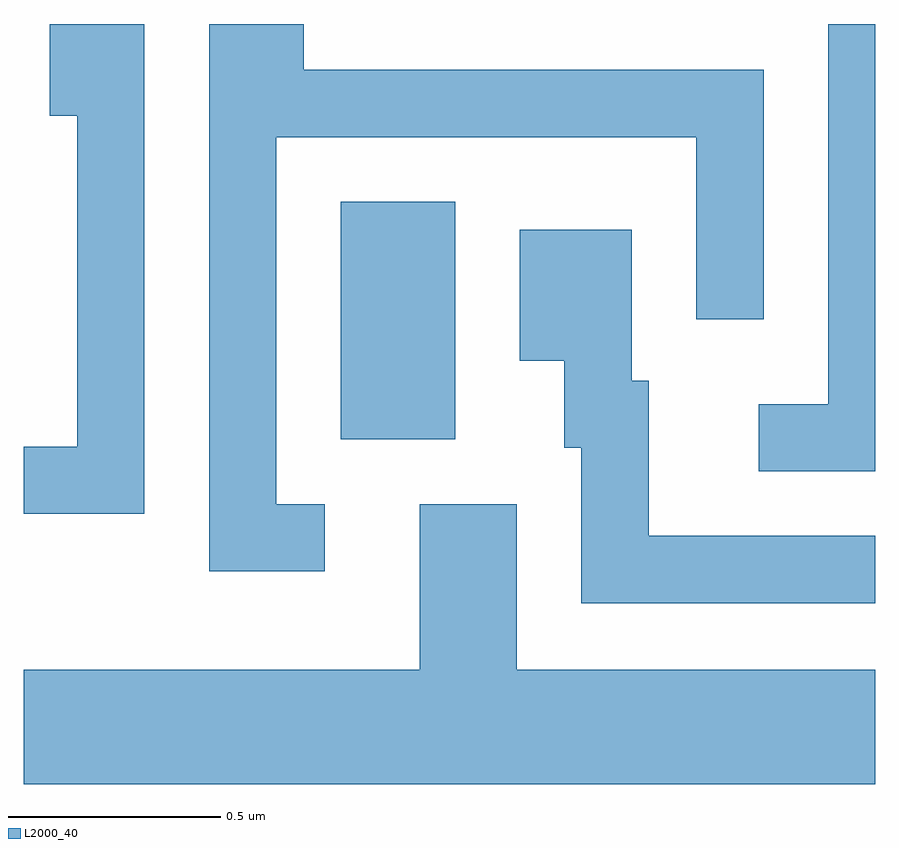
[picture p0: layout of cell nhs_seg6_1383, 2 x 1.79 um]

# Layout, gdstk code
import gdstk
lib = gdstk.Library(unit=1e-6, precision=1e-09)
def R(c, l, rs):  # rectangles x0, y0, x1, y1
    for r in rs: c.add(gdstk.rectangle(r[:2], r[2:], *l))
def P(c, l, *ps):  # polygons
    for p in ps: c.add(gdstk.Polygon(p, *l))
L2000_40 = (2000, 40)

nhs_seg6_1383 = lib.new_cell('nhs_seg6_1383')
R(nhs_seg6_1383, L2000_40, [(196.356,1544.186,196.624,1544.744)])
P(nhs_seg6_1383, L2000_40, [(196.318,1544.034),(196.204,1544.034),(196.204,1544.896),(197.191,1544.896),(197.191,1544.468),(197.349,1544.468),(197.349,1545.054),(196.269,1545.054),(196.269,1545.162),(196.046,1545.162),(196.046,1543.876),(196.318,1543.876)],
  [(195.894,1545.162),(195.671,1545.162),(195.671,1544.946),(195.736,1544.946),(195.736,1544.169),(195.611,1544.169),(195.611,1544.011),(195.894,1544.011)],
  [(197.611,1545.162),(197.501,1545.162),(197.501,1544.269),(197.338,1544.269),(197.338,1544.111),(197.611,1544.111)],
  [(197.611,1543.959),(197.079,1543.959),(197.079,1544.324),(197.039,1544.324),(197.039,1544.679),(196.776,1544.679),(196.776,1544.371),(196.881,1544.371),(196.881,1544.166),(196.921,1544.166),(196.921,1543.801),(197.611,1543.801)],
  [(197.611,1543.644),(196.769,1543.644),(196.769,1544.034),(196.541,1544.034),(196.541,1543.644),(195.611,1543.644),(195.611,1543.376),(197.611,1543.376)])

lib.write_gds('nhs_seg6_1383.gds')
